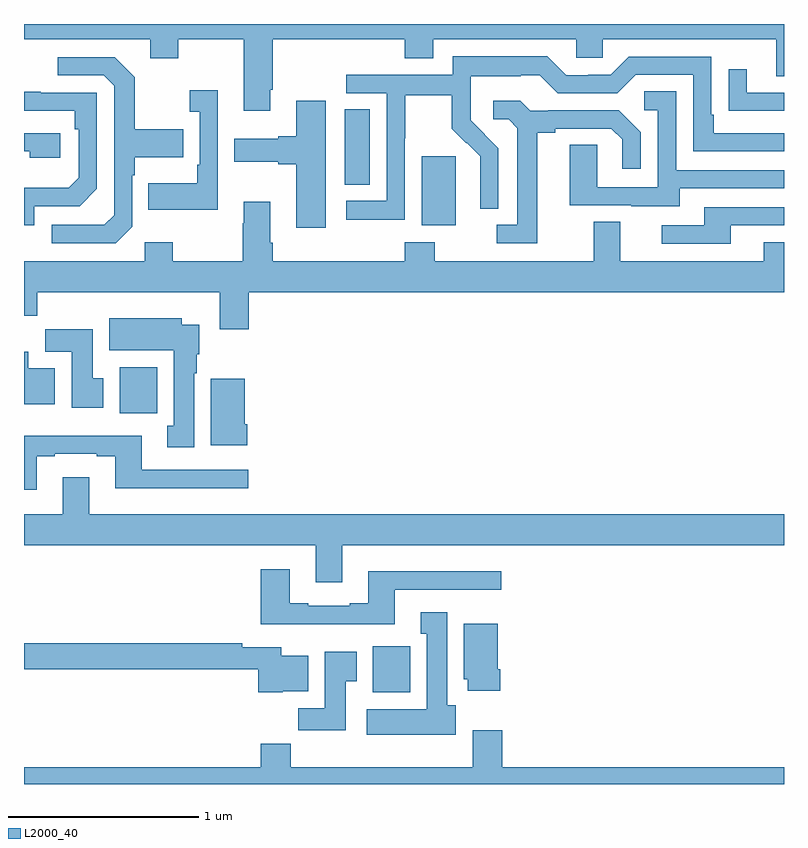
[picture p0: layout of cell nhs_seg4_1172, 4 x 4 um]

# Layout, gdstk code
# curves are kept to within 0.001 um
import gdstk
lib = gdstk.Library(unit=1e-6, precision=1e-09)
def R(c, l, rs):  # rectangles x0, y0, x1, y1
    for r in rs: c.add(gdstk.rectangle(r[:2], r[2:], *l))
def P(c, l, *ps):  # polygons
    for p in ps: c.add(gdstk.Polygon(p, *l))
L2000_40 = (2000, 40)

nhs_seg4_1172 = lib.new_cell('nhs_seg4_1172')
R(nhs_seg4_1172, L2000_40, [(172.835,793.382,173.032,793.624), (171.503,794.852,171.7,795.094), (173.093,795.842,173.272,796.203), (172.688,796.054,172.819,796.451)])
P(nhs_seg4_1172, L2000_40, [(172.297,796.555),(172.31,796.555),(172.31,796.82),(173.003,796.82),(173.003,796.721),(173.155,796.721),(173.155,796.82),(173.907,796.82),(173.907,796.722),(174.045,796.722),(174.045,796.82),(174.959,796.82),(174.959,796.626),(175,796.626),(175,796.9),(171,796.9),(171,796.82),(171.665,796.82),(171.665,796.721),(171.813,796.721),(171.813,796.82),(172.157,796.82),(172.157,796.443),(172.297,796.443)],
  [(173.004,796.3),(173.007,796.3),(173.007,796.524),(173.251,796.524),(173.251,796.349),(173.328,796.272),(173.331,796.275),(173.402,796.205),(173.402,796.082),(173.4,796.082),(173.4,795.928),(173.496,795.928),(173.496,796.246),(173.35,796.394),(173.35,796.491),(173.352,796.491),(173.352,796.625),(173.615,796.625),(173.615,796.629),(173.715,796.629),(173.808,796.536),(174.123,796.536),(174.219,796.632),(174.522,796.632),(174.522,796.23),(175,796.23),(175,796.326),(174.631,796.326),(174.631,796.423),(174.618,796.423),(174.618,796.728),(174.183,796.728),(174.087,796.632),(173.969,796.632),(173.969,796.629),(173.853,796.629),(173.753,796.729),(173.256,796.729),(173.256,796.632),(172.695,796.632),(172.695,796.536),(172.908,796.536),(172.908,795.969),(172.695,795.969),(172.695,795.871),(173.004,795.871)],
  [(171.57,795.834),(171.57,796.103),(171.583,796.103),(171.583,796.199),(171.839,796.199),(171.839,796.347),(171.583,796.347),(171.583,796.619),(171.477,796.725),(171.177,796.725),(171.177,796.629),(171.42,796.629),(171.474,796.575),(171.474,795.894),(171.423,795.843),(171.147,795.843),(171.147,795.747),(171.483,795.747)],
  [(175,796.539),(174.805,796.539),(174.805,796.663),(174.709,796.663),(174.709,796.444),(174.811,796.444),(174.811,796.443),(175,796.443)],
  [(172.02,796.552),(171.873,796.552),(171.873,796.439),(171.924,796.439),(171.924,796.159),(171.912,796.159),(171.912,796.063),(171.655,796.063),(171.655,795.923),(172.02,795.923)],
  [(174.451,796.035),(175,796.035),(175,796.131),(174.432,796.131),(174.432,796.547),(174.264,796.547),(174.264,796.446),(174.336,796.446),(174.336,796.041),(174.018,796.041),(174.018,796.265),(173.873,796.265),(173.873,795.945),(174.197,795.945),(174.197,795.941),(174.451,795.941)],
  [(171.054,795.942),(171.294,795.942),(171.384,796.032),(171.384,796.539),(171.089,796.539),(171.089,796.544),(171,796.544),(171,796.443),(171.268,796.443),(171.268,796.346),(171.288,796.346),(171.288,796.092),(171.235,796.039),(171,796.039),(171,795.84),(171.054,795.84)],
  [(172.588,796.495),(172.433,796.495),(172.433,796.31),(172.337,796.31),(172.337,796.297),(172.107,796.297),(172.107,796.175),(172.337,796.175),(172.337,796.163),(172.433,796.163),(172.433,795.828),(172.588,795.828)],
  [(173.701,796.328),(173.797,796.328),(173.797,796.35),(174.092,796.35),(174.149,796.293),(174.149,796.137),(174.246,796.137),(174.246,796.33),(174.13,796.446),(173.758,796.446),(173.758,796.443),(173.664,796.443),(173.612,796.495),(173.469,796.495),(173.469,796.398),(173.55,796.398),(173.597,796.351),(173.597,795.843),(173.487,795.843),(173.487,795.747),(173.701,795.747)],
  [(171.19,796.326),(171,796.326),(171,796.23),(171.029,796.23),(171.029,796.196),(171.19,796.196)],
  [(172.184,795.488),(175,795.488),(175,795.751),(174.893,795.751),(174.893,795.652),(174.139,795.652),(174.139,795.86),(173.999,795.86),(173.999,795.652),(173.163,795.652),(173.163,795.751),(173.003,795.751),(173.003,795.652),(172.31,795.652),(172.31,795.748),(172.297,795.748),(172.297,795.964),(172.157,795.964),(172.157,795.851),(172.15,795.851),(172.15,795.652),(171.783,795.652),(171.783,795.751),(171.636,795.751),(171.636,795.652),(171,795.652),(171,795.364),(171.071,795.364),(171.071,795.488),(172.031,795.488),(172.031,795.294),(172.184,795.294)],
  [(174.721,795.84),(175,795.84),(175,795.936),(174.581,795.936),(174.581,795.84),(174.357,795.84),(174.357,795.744),(174.721,795.744)],
  [(171.895,795.062),(171.908,795.062),(171.908,795.162),(171.922,795.162),(171.922,795.316),(171.829,795.316),(171.829,795.352),(171.449,795.352),(171.449,795.182),(171.788,795.182),(171.788,794.786),(171.755,794.786),(171.755,794.673),(171.895,794.673)],
  [(171.418,795.036),(171.361,795.036),(171.361,795.294),(171.112,795.294),(171.112,795.176),(171.251,795.176),(171.251,794.88),(171.418,794.88)],
  [(171.163,795.088),(171.022,795.088),(171.022,795.175),(171,795.175),(171,794.9),(171.163,794.9)],
  [(172.175,794.794),(172.162,794.794),(172.162,795.034),(171.984,795.034),(171.984,794.883),(171.983,794.883),(171.983,794.682),(172.175,794.682)],
  [(171.067,794.625),(171.163,794.625),(171.163,794.637),(171.383,794.637),(171.383,794.625),(171.479,794.625),(171.479,794.456),(172.18,794.456),(172.18,794.553),(171.619,794.553),(171.619,794.734),(171,794.734),(171,794.448),(171.067,794.448)],
  [(172.675,794.156),(175,794.156),(175,794.32),(171.343,794.32),(171.343,794.515),(171.203,794.515),(171.203,794.32),(171,794.32),(171,794.156),(172.535,794.156),(172.535,793.962),(172.675,793.962)],
  [(172.951,793.923),(173.512,793.923),(173.512,794.02),(172.811,794.02),(172.811,793.852),(172.715,793.852),(172.715,793.839),(172.495,793.839),(172.495,793.852),(172.399,793.852),(172.399,794.029),(172.247,794.029),(172.247,793.742),(172.951,793.742)],
  [(173.272,793.314),(173.227,793.314),(173.227,793.804),(173.087,793.804),(173.087,793.691),(173.12,793.691),(173.12,793.294),(172.803,793.294),(172.803,793.16),(173.272,793.16)],
  [(173.507,793.504),(173.494,793.504),(173.494,793.744),(173.315,793.744),(173.315,793.452),(173.336,793.452),(173.336,793.392),(173.507,793.392)],
  [(172.362,793.388),(172.495,793.388),(172.495,793.576),(172.354,793.576),(172.354,793.62),(172.148,793.62),(172.148,793.64),(171,793.64),(171,793.504),(172.232,793.504),(172.232,793.382),(172.362,793.382)],
  [(172.693,793.441),(172.75,793.441),(172.75,793.597),(172.583,793.597),(172.583,793.3),(172.444,793.3),(172.444,793.182),(172.693,793.182)],
  [(175,792.988),(173.516,792.988),(173.516,793.183),(173.363,793.183),(173.363,792.988),(172.403,792.988),(172.403,793.112),(172.247,793.112),(172.247,792.988),(171,792.988),(171,792.9),(175,792.9)])

lib.write_gds('nhs_seg4_1172.gds')
